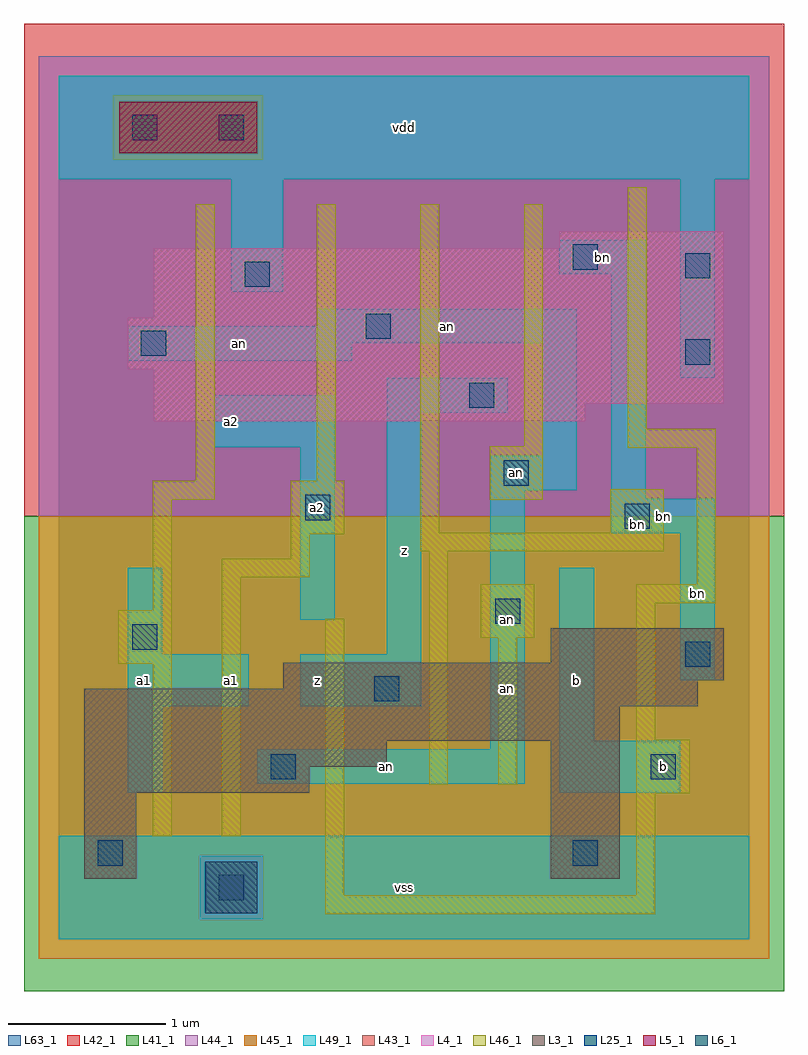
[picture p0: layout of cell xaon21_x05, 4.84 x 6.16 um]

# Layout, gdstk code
import gdstk
lib = gdstk.Library(unit=1e-6, precision=1e-09)
def R(c, l, rs):  # rectangles x0, y0, x1, y1
    for r in rs: c.add(gdstk.rectangle(r[:2], r[2:], *l))
L3_1 = (3, 1)
L4_1 = (4, 1)
L5_1 = (5, 1)
L6_1 = (6, 1)
L25_1 = (25, 1)
L41_1 = (41, 1)
L42_1 = (42, 1)
L43_1 = (43, 1)
L44_1 = (44, 1)
L45_1 = (45, 1)
L46_1 = (46, 1)
L49_1 = (49, 1)
L63_1 = (63, 1)

xaon21_x05 = lib.new_cell('xaon21_x05')
R(xaon21_x05, L3_1, [(0.165,0.385,0.495,0.935), (3.135,0.385,3.575,1.265), (0.165,0.935,1.595,1.1), (0.165,1.1,2.09,1.265), (0.165,1.265,3.575,1.485), (0.165,1.485,4.07,1.595), (1.43,1.595,4.07,1.65), (1.43,1.65,4.235,1.76), (3.135,1.76,4.235,1.98)])
R(xaon21_x05, L4_1, [(0.605,3.3,3.355,3.41), (0.605,3.41,4.235,3.63), (0.44,3.63,4.235,3.96), (0.605,3.96,4.235,4.4), (3.19,4.4,4.235,4.51)])
R(xaon21_x05, L5_1, [(0.385,5.005,1.265,5.335)])
R(xaon21_x05, L6_1, [(0.935,0.165,1.265,0.495)])
R(xaon21_x05, L25_1, [(1.02,0.25,1.18,0.41), (0.25,0.47,0.41,0.63), (3.275,0.47,3.435,0.63), (1.35,1.02,1.51,1.18), (3.77,1.02,3.93,1.18), (2.01,1.515,2.17,1.675), (3.99,1.735,4.15,1.895), (0.47,1.845,0.63,2.005), (2.78,2.01,2.94,2.17), (3.605,2.615,3.765,2.775), (1.57,2.67,1.73,2.83), (2.835,2.89,2.995,3.05), (2.615,3.385,2.775,3.545), (3.99,3.66,4.15,3.82), (0.525,3.715,0.685,3.875), (1.955,3.825,2.115,3.985), (1.185,4.155,1.345,4.315), (3.99,4.21,4.15,4.37), (3.275,4.265,3.435,4.425), (0.47,5.09,0.63,5.25), (1.02,5.09,1.18,5.25)])
R(xaon21_x05, L41_1, [(-0.22,-0.33,4.62,2.695)])
R(xaon21_x05, L42_1, [(-0.22,2.695,4.62,5.83)])
R(xaon21_x05, L43_1, [(0.935,0.165,1.265,0.495), (0.165,0.385,0.495,0.935), (3.135,0.385,3.575,1.265), (0.165,0.935,1.595,1.1), (0.165,1.1,2.09,1.265), (0.165,1.265,3.575,1.485), (0.165,1.485,4.07,1.595), (1.43,1.595,4.07,1.65), (1.43,1.65,4.235,1.76), (3.135,1.76,4.235,1.98), (0.605,3.3,3.355,3.41), (0.605,3.41,4.235,3.63), (0.44,3.63,4.235,3.96), (0.605,3.96,4.235,4.4), (3.19,4.4,4.235,4.51), (0.385,5.005,1.265,5.335)])
R(xaon21_x05, L44_1, [(0.895,0.125,1.305,0.535), (-0.125,2.695,4.525,4.965), (-0.125,4.965,0.345,5.375), (1.305,4.965,4.525,5.375), (-0.125,5.375,4.525,5.625)])
R(xaon21_x05, L45_1, [(-0.125,-0.125,4.525,0.125), (-0.125,0.125,0.895,0.535), (1.305,0.125,4.525,0.535), (-0.125,0.535,4.525,2.695), (0.345,4.965,1.305,5.375)])
R(xaon21_x05, L46_1, [(1.7,0.16,3.8,0.28), (1.7,0.28,1.82,2.04), (3.68,0.28,3.8,0.93), (0.6,0.655,0.72,1.755), (1.04,0.655,1.16,2.305), (3.68,0.93,4.02,1.27), (2.36,0.985,2.48,2.47), (2.8,0.985,2.92,1.92), (3.68,1.27,3.8,2.14), (0.38,1.755,0.72,2.095), (2.69,1.92,3.03,2.26), (0.6,2.095,0.72,2.8), (3.68,2.14,4.185,2.26), (4.065,2.26,4.185,3.13), (1.04,2.305,1.6,2.425), (1.48,2.425,1.6,2.58), (2.305,2.47,3.855,2.59), (1.48,2.58,1.82,2.92), (2.305,2.59,2.425,4.68), (3.515,2.59,3.855,2.865), (0.6,2.8,0.995,2.92), (2.745,2.8,3.085,3.14), (0.875,2.92,0.995,4.68), (1.645,2.92,1.765,4.68), (3.625,3.13,4.185,3.25), (2.965,3.14,3.085,4.68), (3.625,3.25,3.745,4.79)])
R(xaon21_x05, L49_1, [(0,0,4.4,0.66), (0.44,0.935,0.66,1.485), (3.19,0.935,3.96,1.265), (1.265,0.99,2.97,1.21), (2.75,1.21,2.97,2.86), (3.19,1.265,3.41,2.365), (0.44,1.485,1.21,1.815), (1.54,1.485,2.31,1.815), (3.96,1.65,4.18,2.585), (0.44,1.815,0.66,2.365), (2.09,1.815,2.31,3.355), (1.54,2.035,1.76,3.135), (3.52,2.585,4.18,2.805), (3.52,2.805,3.74,4.235), (2.75,2.86,3.3,3.08), (3.08,3.08,3.3,3.795), (0.99,3.135,1.76,3.465), (2.09,3.355,2.86,3.575), (3.96,3.575,4.18,4.84), (0.44,3.685,1.87,3.795), (0.44,3.795,3.3,3.905), (1.65,3.905,3.3,4.015), (1.1,4.125,1.43,4.84), (3.19,4.235,3.74,4.455), (0,4.84,4.4,5.5)])
R(xaon21_x05, L63_1, [(0,0,4.4,5.5)])
xaon21_x05.add(gdstk.Label('an', (2.86,1.595), layer=46, texttype=1))
xaon21_x05.add(gdstk.Label('an', (2.915,2.97), layer=49, texttype=1))
xaon21_x05.add(gdstk.Label('bn', (3.685,2.64), layer=49, texttype=1))
xaon21_x05.add(gdstk.Label('a1', (0.55,1.65), layer=49, texttype=1))
xaon21_x05.add(gdstk.Label('a1', (0.55,1.65), layer=49, texttype=1))
xaon21_x05.add(gdstk.Label('a1', (1.1,1.65), layer=49, texttype=1))
xaon21_x05.add(gdstk.Label('a1', (1.1,1.65), layer=49, texttype=1))
xaon21_x05.add(gdstk.Label('a2', (1.1,3.3), layer=49, texttype=1))
xaon21_x05.add(gdstk.Label('a2', (1.1,3.3), layer=49, texttype=1))
xaon21_x05.add(gdstk.Label('vss', (2.2,0.33), layer=49, texttype=1))
xaon21_x05.add(gdstk.Label('vss', (2.2,0.33), layer=49, texttype=1))
xaon21_x05.add(gdstk.Label('z', (1.65,1.65), layer=49, texttype=1))
xaon21_x05.add(gdstk.Label('z', (1.65,1.65), layer=49, texttype=1))
xaon21_x05.add(gdstk.Label('a2', (1.65,2.75), layer=49, texttype=1))
xaon21_x05.add(gdstk.Label('a2', (1.65,2.75), layer=49, texttype=1))
xaon21_x05.add(gdstk.Label('z', (2.2,2.475), layer=49, texttype=1))
xaon21_x05.add(gdstk.Label('z', (2.2,2.475), layer=49, texttype=1))
xaon21_x05.add(gdstk.Label('an', (1.155,3.795), layer=49, texttype=1))
xaon21_x05.add(gdstk.Label('vdd', (2.2,5.17), layer=49, texttype=1))
xaon21_x05.add(gdstk.Label('vdd', (2.2,5.17), layer=49, texttype=1))
xaon21_x05.add(gdstk.Label('an', (2.09,1.1), layer=49, texttype=1))
xaon21_x05.add(gdstk.Label('b', (3.3,1.65), layer=49, texttype=1))
xaon21_x05.add(gdstk.Label('b', (3.3,1.65), layer=49, texttype=1))
xaon21_x05.add(gdstk.Label('an', (2.86,2.035), layer=49, texttype=1))
xaon21_x05.add(gdstk.Label('an', (2.475,3.905), layer=49, texttype=1))
xaon21_x05.add(gdstk.Label('b', (3.85,1.1), layer=49, texttype=1))
xaon21_x05.add(gdstk.Label('b', (3.85,1.1), layer=49, texttype=1))
xaon21_x05.add(gdstk.Label('bn', (4.07,2.2), layer=49, texttype=1))
xaon21_x05.add(gdstk.Label('bn', (3.85,2.695), layer=49, texttype=1))
xaon21_x05.add(gdstk.Label('bn', (3.465,4.345), layer=49, texttype=1))

lib.write_gds('xaon21_x05.gds')
